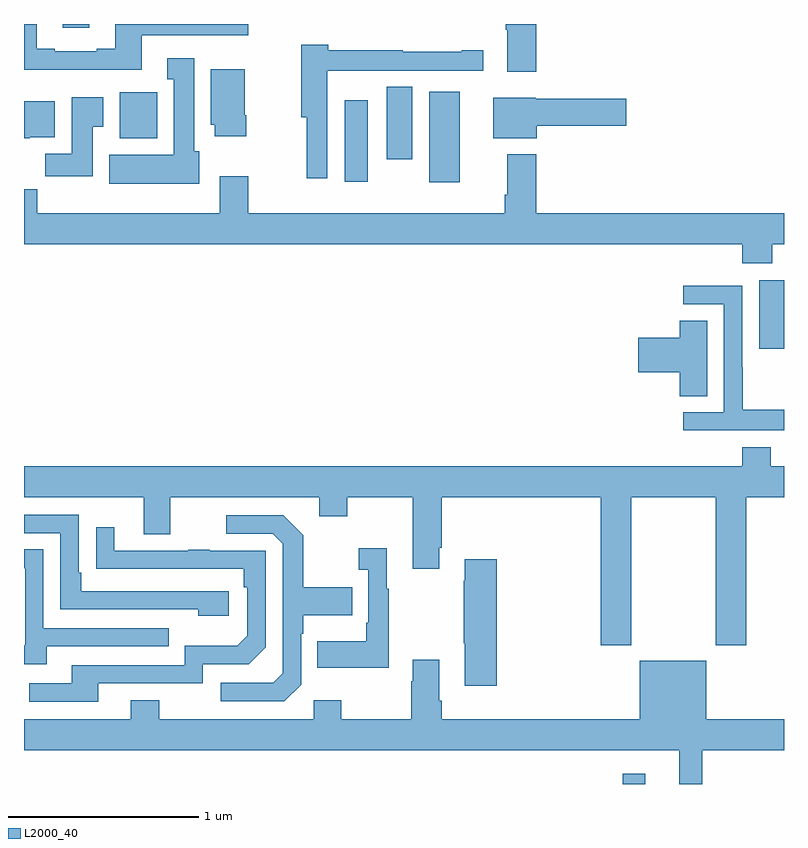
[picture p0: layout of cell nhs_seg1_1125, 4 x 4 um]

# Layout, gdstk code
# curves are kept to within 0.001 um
import gdstk
lib = gdstk.Library(unit=1e-6, precision=1e-09)
def R(c, l, rs):  # rectangles x0, y0, x1, y1
    for r in rs: c.add(gdstk.rectangle(r[:2], r[2:], *l))
def P(c, l, *ps):  # polygons
    for p in ps: c.add(gdstk.Polygon(p, *l))
L2000_40 = (2000, 40)

nhs_seg1_1125 = lib.new_cell('nhs_seg1_1125')
R(nhs_seg1_1125, L2000_40, [(174.15,574.199,174.271,574.252), (174.869,576.489,175,576.85), (173.132,577.365,173.293,577.843), (172.688,577.368,172.81,577.798), (172.91,577.488,173.044,577.868), (171.503,577.598,171.7,577.84), (171.203,578.178,171.343,578.199)])
P(nhs_seg1_1125, L2000_40, [(173.696,578.199),(173.536,578.199),(173.536,578.168),(173.543,578.168),(173.543,577.947),(173.696,577.947)],
  [(171.619,578.139),(172.18,578.139),(172.18,578.199),(171.479,578.199),(171.479,578.068),(171.383,578.068),(171.383,578.055),(171.163,578.055),(171.163,578.068),(171.067,578.068),(171.067,578.199),(171,578.199),(171,577.958),(171.619,577.958)],
  [(172.596,577.952),(172.806,577.952),(172.806,577.953),(173.416,577.953),(173.416,578.062),(173.303,578.062),(173.303,578.052),(172.994,578.052),(172.994,578.062),(172.601,578.062),(172.601,578.089),(172.459,578.089),(172.459,577.709),(172.488,577.709),(172.488,577.386),(172.596,577.386)],
  [(171.922,577.53),(171.895,577.53),(171.895,578.02),(171.755,578.02),(171.755,577.907),(171.788,577.907),(171.788,577.51),(171.449,577.51),(171.449,577.358),(171.922,577.358)],
  [(172.17,577.72),(172.162,577.72),(172.162,577.96),(171.983,577.96),(171.983,577.668),(172.004,577.668),(172.004,577.608),(172.17,577.608)],
  [(171.361,577.657),(171.418,577.657),(171.418,577.813),(171.251,577.813),(171.251,577.516),(171.112,577.516),(171.112,577.398),(171.361,577.398)],
  [(173.698,577.663),(174.169,577.663),(174.169,577.805),(173.694,577.805),(173.694,577.81),(173.471,577.81),(173.471,577.598),(173.698,577.598)],
  [(171.03,577.604),(171.163,577.604),(171.163,577.792),(171,577.792),(171,577.598),(171.03,577.598)],
  [(174.939,577.04),(175,577.04),(175,577.204),(173.696,577.204),(173.696,577.513),(173.543,577.513),(173.543,577.3),(173.531,577.3),(173.531,577.204),(172.179,577.204),(172.179,577.399),(172.031,577.399),(172.031,577.204),(171.071,577.204),(171.071,577.328),(171,577.328),(171,577.04),(174.779,577.04),(174.779,576.941),(174.939,576.941)],
  [(175,576.169),(174.783,576.169),(174.783,576.392),(174.78,576.392),(174.78,576.822),(174.471,576.822),(174.471,576.723),(174.684,576.723),(174.684,576.156),(174.471,576.156),(174.471,576.06),(175,576.06)],
  [(174.595,576.638),(174.452,576.638),(174.452,576.548),(174.234,576.548),(174.234,576.365),(174.452,576.365),(174.452,576.241),(174.595,576.241)],
  [(174.779,575.872),(171,575.872),(171,575.708),(171.629,575.708),(171.629,575.514),(171.769,575.514),(171.769,575.708),(172.553,575.708),(172.553,575.609),(172.701,575.609),(172.701,575.708),(173.045,575.708),(173.045,575.331),(173.185,575.331),(173.185,575.443),(173.198,575.443),(173.198,575.708),(174.035,575.708),(174.035,574.929),(174.195,574.929),(174.195,575.708),(174.64,575.708),(174.64,574.929),(174.8,574.929),(174.8,575.708),(175,575.708),(175,575.872),(174.931,575.872),(174.931,575.971),(174.779,575.971)],
  [(172.078,575.214),(171.301,575.214),(171.301,575.311),(171.288,575.311),(171.288,575.616),(171,575.616),(171,575.52),(171.192,575.52),(171.192,575.118),(171.917,575.118),(171.917,575.084),(172.078,575.084)],
  [(172.458,574.722),(172.458,574.991),(172.471,574.991),(172.471,575.087),(172.727,575.087),(172.727,575.235),(172.471,575.235),(172.471,575.507),(172.365,575.613),(172.065,575.613),(172.065,575.517),(172.308,575.517),(172.362,575.463),(172.362,574.782),(172.311,574.731),(172.035,574.731),(172.035,574.635),(172.371,574.635)],
  [(171.391,574.728),(171.942,574.728),(171.942,574.83),(172.182,574.83),(172.272,574.92),(172.272,575.427),(171.977,575.427),(171.977,575.432),(171.865,575.432),(171.865,575.427),(171.475,575.427),(171.475,575.551),(171.379,575.551),(171.379,575.332),(172.156,575.331),(172.156,575.234),(172.176,575.234),(172.176,574.98),(172.123,574.927),(171.846,574.927),(171.846,574.824),(171.251,574.824),(171.251,574.728),(171.027,574.728),(171.027,574.632),(171.391,574.632)],
  [(172.921,575.227),(172.909,575.227),(172.909,575.44),(172.761,575.44),(172.761,575.327),(172.812,575.327),(172.812,575.047),(172.8,575.047),(172.8,574.951),(172.543,574.951),(172.543,574.811),(172.921,574.811)],
  [(171.121,574.923),(171.761,574.923),(171.761,575.019),(171.102,575.019),(171.102,575.435),(171,575.435),(171,575.334),(171.006,575.334),(171.006,574.929),(171,574.929),(171,574.829),(171.121,574.829)],
  [(173.489,575.383),(173.321,575.383),(173.321,575.27),(173.314,575.27),(173.314,574.939),(173.321,574.939),(173.321,574.716),(173.489,574.716)],
  [(174.571,574.376),(175,574.376),(175,574.54),(174.592,574.54),(174.592,574.849),(174.242,574.849),(174.242,574.54),(173.198,574.54),(173.198,574.636),(173.185,574.636),(173.185,574.852),(173.045,574.852),(173.045,574.739),(173.038,574.739),(173.038,574.54),(172.671,574.54),(172.671,574.639),(172.524,574.639),(172.524,574.54),(171.711,574.54),(171.711,574.639),(171.563,574.639),(171.563,574.54),(171,574.54),(171,574.376),(174.449,574.376),(174.449,574.199),(174.571,574.199)])

lib.write_gds('nhs_seg1_1125.gds')
